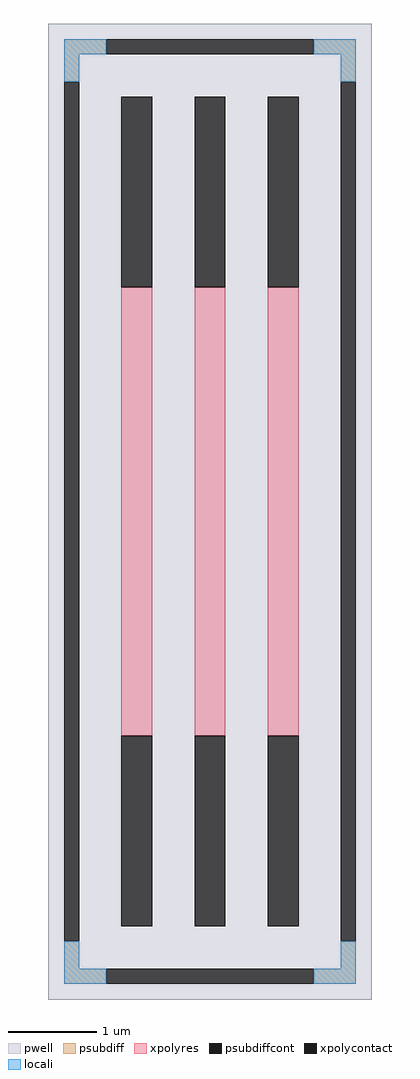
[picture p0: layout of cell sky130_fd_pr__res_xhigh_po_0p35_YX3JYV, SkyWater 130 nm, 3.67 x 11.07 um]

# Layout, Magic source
magic
tech sky130A
magscale 1 2
<< pwell >>
rect -367 -1107 367 1107
<< psubdiff >>
rect -331 1037 -235 1071
rect 235 1037 331 1071
rect -331 975 -297 1037
rect 297 975 331 1037
rect -331 -1037 -297 -975
rect 297 -1037 331 -975
rect -331 -1071 -235 -1037
rect 235 -1071 331 -1037
<< psubdiffcont >>
rect -235 1037 235 1071
rect -331 -975 -297 975
rect 297 -975 331 975
rect -235 -1071 235 -1037
<< xpolycontact >>
rect -201 509 -131 941
rect -201 -941 -131 -509
rect -35 509 35 941
rect -35 -941 35 -509
rect 131 509 201 941
rect 131 -941 201 -509
<< xpolyres >>
rect -201 -509 -131 509
rect -35 -509 35 509
rect 131 -509 201 509
<< locali >>
rect -331 1037 -235 1071
rect 235 1037 331 1071
rect -331 975 -297 1037
rect 297 975 331 1037
rect -331 -1037 -297 -975
rect 297 -1037 331 -975
rect -331 -1071 -235 -1037
rect 235 -1071 331 -1037
<< properties >>
string FIXED_BBOX -314 -1054 314 1054
string gencell sky130_fd_pr__res_xhigh_po_0p35
string library sky130
string parameters w 0.350 l 5.25 m 1 nx 3 wmin 0.350 lmin 0.50 class resistor rho 2000 val 31.075k dummy 0 dw 0.0 term 188.2 sterm 0.0 caplen 0 wmax 0.350 guard 1 glc 1 grc 1 gtc 1 gbc 1 compatible {sky130_fd_pr__res_xhigh_po_0p35  sky130_fd_pr__res_xhigh_po_0p69 sky130_fd_pr__res_xhigh_po_1p41  sky130_fd_pr__res_xhigh_po_2p85 sky130_fd_pr__res_xhigh_po_5p73} snake 0 full_metal 1 n_guard 0 hv_guard 0 vias 0 viagb 0 viagt 0 viagl 0 viagr 0
<< end >>
